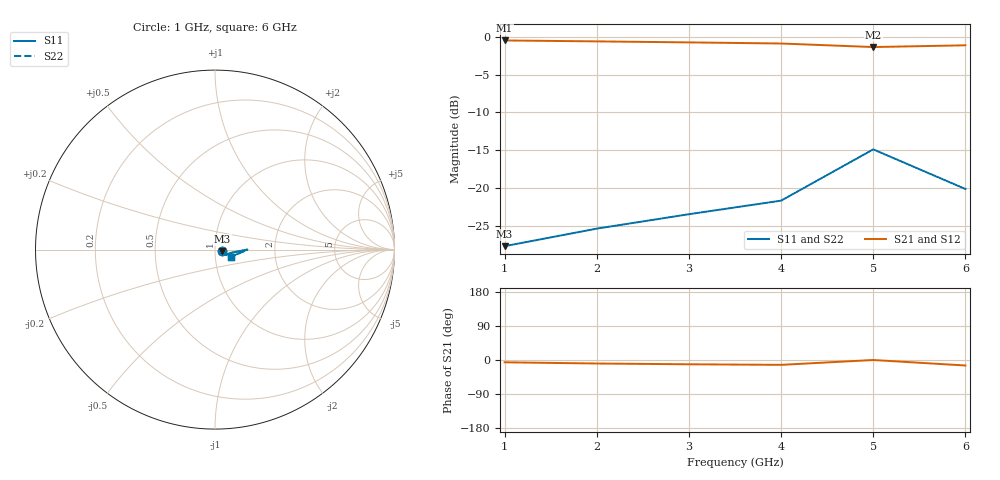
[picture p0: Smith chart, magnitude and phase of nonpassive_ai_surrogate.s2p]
! ELE v9.0.0 Benchmark: Non-Passive AI Surrogate Hallucination (MUST BE VETOED)
# GHZ S RI R 50.0
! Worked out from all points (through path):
!   6 points, 1 GHz to 6 GHz, reference 50 ohm
!   highest |S21| = -0.49 dB at 1 GHz (marker M1); lowest = -1.4 dB at 5 GHz (marker M2)
!   lowest |S11| = -27.7 dB at 1 GHz (marker M3), VSWR 1.09, Z = 54.2 - j1.08 ohm
!   |S11| at or under -10 dB: start of sweep to end of sweep
!   |S22| runs from -27.7 to -14.9 dB; largest |S21 - S12| = 0
1  0.04 -0.01  0.94 -0.1  0.94 -0.1  0.04 -0.01
2  0.05 -0.02  0.92 -0.15  0.92 -0.15  0.05 -0.02
3  0.06 -0.03  0.9 -0.18  0.9 -0.18  0.06 -0.03
4  0.08 -0.02  0.88 -0.2  0.88 -0.2  0.08 -0.02
5  0.18 0  0.855 0  0.855 0  0.18 0
6  0.09 -0.04  0.85 -0.22  0.85 -0.22  0.09 -0.04
